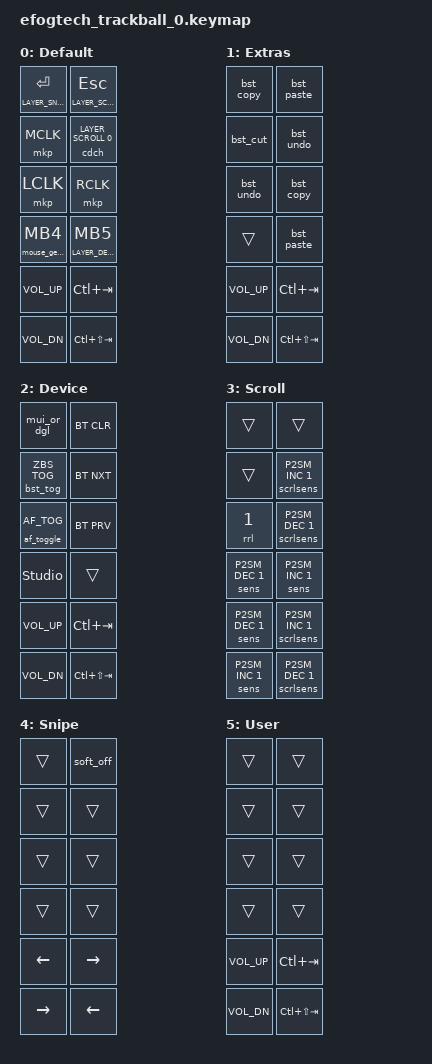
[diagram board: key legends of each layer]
#include <behaviors.dtsi>
#include <dt-bindings/zmk/bt.h>
#include <dt-bindings/zmk/keys.h>
#include <dt-bindings/zmk/pointing.h>
#include <dt-bindings/zmk/outputs.h>
#include <dt-bindings/zmk/adaptive_feedback.h>
#include <dt-bindings/zmk/bistable_behavior.h>
#include <dt-bindings/zmk/p2sm.h>
#include <mouse-gesture.dtsi>
#include <dt-bindings/zmk/mouse-gesture.h>

#ifndef LAYER_DEFAULT
#define LAYER_DEFAULT      0
#define LAYER_EXTRAS       1
#define LAYER_DEVICE       2
#define LAYER_SCROLL       3
#define LAYER_SNIPE        4
#define LAYER_USER         5
#endif

/* Gesture Configuration */
&zip_mouse_gesture {
    stroke-size = <120>;
    idle-timeout-ms = <150>;
    suppress-movement;

    /* South -> Copy (Ctrl + C) */
    gesture_copy {
        pattern = <GESTURE_DOWN>;
        bindings = <&kp LC(C)>;
    };

    /* North -> Paste (Ctrl + Shift + V) */
    gesture_paste {
        pattern = <GESTURE_UP>;
        bindings = <&kp LC(LS(V))>;
    };

    /* Left -> Previous Workspace (Ctrl + Meta + Left) */
    gesture_prev_workspace {
        pattern = <GESTURE_LEFT>;
        bindings = <&kp LC(LG(LEFT))>;
    };

    /* Right -> Next Workspace (Ctrl + Meta + Right) */
    gesture_next_workspace {
        pattern = <GESTURE_RIGHT>;
        bindings = <&kp LC(LG(RIGHT))>;
    };

    /* South-East (Down then Right) -> Play/Pause */
    gesture_play_pause {
        pattern = <GESTURE_DOWN GESTURE_RIGHT>;
        bindings = <&kp C_PP>;
    };
};

/ {
    behaviors {
        back_gesture: back_gesture {
            compatible = "zmk,behavior-hold-tap";
            #binding-cells = <2>;
            flavor = "hold-preferred";
            tapping-term-ms = <120>;
            quick-tap-ms = <0>;
            bindings = <&mouse_gesture>, <&mkp>;
        };
    };

    keymap {
        compatible = "zmk,keymap";

        default_layer {
            display-name = "Default";
            DECLARE_ENCODERS;
            bindings = <
                // buttons
                &ltmkp LAYER_SNIPE ENTER  &ltmkp LAYER_SCROLL ESC
                &mkp MCLK                 &cdch LAYER_SCROLL 0
                &mkp LCLK                 &mkp RCLK
                &back_gesture 0 MB4       &ltm LAYER_DEVICE MB5

                // rotary encoders
                &kp C_VOL_UP              &kp LC(TAB)
                &kp C_VOL_DN              &kp LC(LS(TAB))
            >;
        };

        layer1 {
            display-name = "Extras";
            DECLARE_ENCODERS;
            bindings = <
                &bst_copy      &bst_paste
                &bst_cut       &bst_undo
                &bst_undo      &bst_copy
                &trans         &bst_paste

                &kp C_VOL_UP   &kp LC(TAB)
                &kp C_VOL_DN   &kp LC(LS(TAB))
            >;
        };

        layer2 {
            display-name = "Device";
            DECLARE_ENCODERS;
            bindings = <
                &mui_or_dgl          &bt BT_CLR
                &bst_tog ZBS_TOG     &bt BT_NXT
                &af_toggle AF_TOG    &bt BT_PRV
                &studio_unlock       &trans

                &kp C_VOL_UP         &kp LC(TAB)
                &kp C_VOL_DN         &kp LC(LS(TAB))
            >;
        };

        layer3 {
            display-name = "Scroll";
            DECLARE_ENCODERS;
            bindings = <
                &trans              &trans
                &trans              &scrlsens P2SM_INC 1
                &rrl 1              &scrlsens P2SM_DEC 1
                &sens P2SM_DEC 1    &sens P2SM_INC 1

                &sens P2SM_DEC 1    &scrlsens P2SM_INC 1
                &sens P2SM_INC 1    &scrlsens P2SM_DEC 1
            >;
        };

        layer4 {
            display-name = "Snipe";
            DECLARE_ENCODERS;
            bindings = <
                &trans           &soft_off
                &trans           &trans
                &trans           &trans
                &trans           &trans

                &kp LEFT         &kp RIGHT
                &kp RIGHT        &kp LEFT
            >;
        };

        layer5 {
            display-name = "User";
            DECLARE_ENCODERS;
            bindings = <
                &trans        &trans
                &trans        &trans
                &trans        &trans
                &trans        &trans

                &kp C_VOL_UP  &kp LC(TAB)
                &kp C_VOL_DN  &kp LC(LS(TAB))
            >;
        };
    };

    trackball {
        input-processors = <&zip_rotate_pointer>,
                           <&zip_mouse_gesture>,
                           <&zip_bistable_twist_scaler>,
                           <&zip_pointer_accel>, <&zip_scroll_accel>,
                           <&esb_ip>, <&zip_ble_report_rate_limit>;

        scroll {
            layers = <LAYER_SCROLL>;
            input-processors = <&zip_bistable_scroll_xy_scaler>, <&zip_axis_clamper>,
                               <&zip_xy_to_scroll_mapper>, <&zip_scroll_transform INPUT_TRANSFORM_Y_INVERT>,
                               <&zip_dragscroll_accel>, <&zip_rotate_scroll>,
                               <&esb_ip>, <&zip_ble_report_rate_limit>;
        };

        snipe {
            layers = <LAYER_SNIPE>;
            input-processors = <&zip_bistable_snipe_scaler>, <&zip_rotate_pointer>,
                               <&esb_ip>, <&zip_ble_report_rate_limit>;
        };
    };
};
